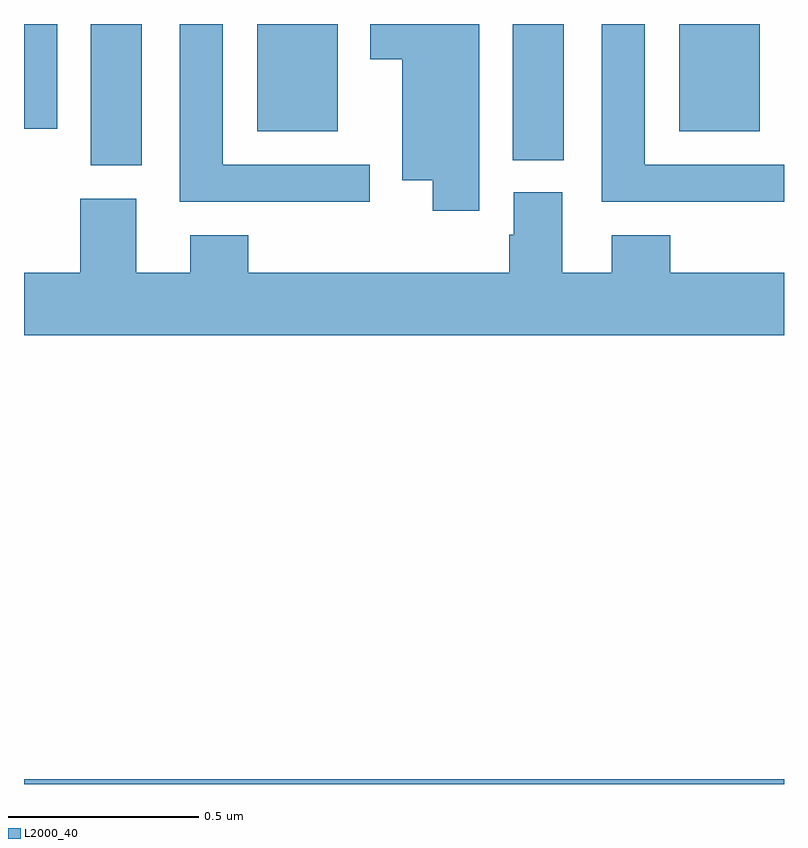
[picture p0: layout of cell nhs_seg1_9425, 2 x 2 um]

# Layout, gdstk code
import gdstk
lib = gdstk.Library(unit=1e-6, precision=1e-09)
def R(c, l, rs):  # rectangles x0, y0, x1, y1
    for r in rs: c.add(gdstk.rectangle(r[:2], r[2:], *l))
def P(c, l, *ps):  # polygons
    for p in ps: c.add(gdstk.Polygon(p, *l))
L2000_40 = (2000, 40)

nhs_seg1_9425 = lib.new_cell('nhs_seg1_9425')
R(nhs_seg1_9425, L2000_40, [(228,569.199,230,569.212), (228.176,570.827,228.31,571.199), (229.286,570.841,229.42,571.199), (228.614,570.917,228.826,571.199), (229.724,570.917,229.936,571.199), (228,570.923,228.088,571.199)])
P(nhs_seg1_9425, L2000_40, [(229.198,571.199),(228.911,571.199),(228.911,571.106),(228.995,571.106),(228.995,570.788),(229.076,570.788),(229.076,570.708),(229.198,570.708)],
  [(228.91,570.828),(228.523,570.828),(228.523,571.199),(228.41,571.199),(228.41,570.731),(228.91,570.731)],
  [(230,570.828),(229.633,570.828),(229.633,571.199),(229.52,571.199),(229.52,570.731),(230,570.731)],
  [(230,570.544),(229.7,570.544),(229.7,570.643),(229.547,570.643),(229.547,570.544),(229.417,570.544),(229.417,570.756),(229.289,570.756),(229.289,570.645),(229.277,570.645),(229.277,570.544),(228.59,570.544),(228.59,570.643),(228.437,570.643),(228.437,570.544),(228.295,570.544),(228.295,570.739),(228.148,570.739),(228.148,570.544),(228,570.544),(228,570.38),(230,570.38)])

lib.write_gds('nhs_seg1_9425.gds')
